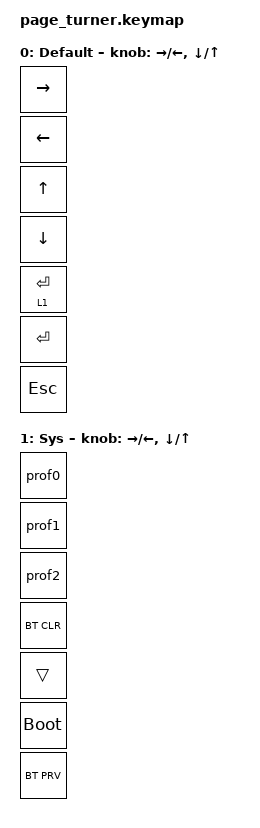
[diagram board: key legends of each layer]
/*
 * Page Turner — ZMK Keymap
 * Target: Kobo / x4 via Bluetooth (appears as BT keyboard)
 *
 * LAYERS
 *   0 — DEFAULT  : standard page turning + navigation
 *   1 — SYS      : BT pairing / clear (hold BTN5 to momentarily activate)
 *
 * KEY INDEX MAP (matches overlay kscan input-gpios order)
 *   0 = BTN1 (pin 008) — Next Page
 *   1 = BTN2 (pin 017) — Prev Page
 *   2 = BTN3 (pin 020) — Up
 *   3 = BTN4 (pin 022) — Down
 *   4 = BTN5 (pin 024) — Select / Layer-tap (hold = SYS layer)
 *   5 = ENC1 SW (pin 111) — Encoder 1 click
 *   6 = ENC2 SW (pin 104) — Encoder 2 click
 *
 * ENCODER MAP
 *   ENC1 CW / CCW → next / prev page  (same as buttons, feel comparison)
 *   ENC2 CW / CCW → scroll down / up  (for menus / long pages)
 *
 * SYS LAYER (hold BTN5)
 *   BTN1 → Profile 0  — LED blinks 1×
 *   BTN2 → Profile 1  — LED blinks 2×
 *   BTN3 → Profile 2  — LED blinks 3×
 *   BTN4 → Clear / unpair current profile
 *   BTN5 → (held, transparent)
 *   ENC1 SW → Bootloader (flash mode — or just double-press reset on board)
 *   ENC2 SW → BT previous profile
 *
 * KOBO KEY REFERENCE
 *   Next page : RIGHT arrow  (or Page Down on some firmware)
 *   Prev page : LEFT arrow   (or Page Up)
 *   Menu open : UP / tap top of screen
 *   Back      : ESC
 *   Select    : ENTER
 */

#include <behaviors.dtsi>
#include <dt-bindings/zmk/keys.h>
#include <dt-bindings/zmk/bt.h>
#include <dt-bindings/zmk/backlight.h>

/ {
    behaviors {
        /* Layer-tap: tap = ENTER, hold = SYS layer */
        lt_sys: layer_tap_sys {
            compatible = "zmk,behavior-hold-tap";
            label = "LT_SYS";
            #binding-cells = <2>;
            flavor = "tap-preferred";
            tapping-term-ms = <200>;
            bindings = <&mo>, <&kp>;
        };
    };

    /*
     * Profile-switch macros — each selects the BT profile then blinks the
     * onboard LED N times so you know which profile is now active.
     *
     * Timing: &macro_wait_time sets the delay applied BEFORE the next action.
     *   100 ms pause after BT_SEL (gives radio a moment to switch)
     *   250 ms on / 250 ms off per blink — visible but not slow
     */
    macros {
        /* Profile 0 — 1 blink */
        prof0: prof0 {
            compatible = "zmk,behavior-macro";
            label = "PROF_0";
            #binding-cells = <0>;
            wait-ms = <0>;
            tap-ms = <5>;
            bindings
                = <&bt BT_SEL 0>
                , <&macro_wait_time 100>
                , <&bl BL_ON>
                , <&macro_wait_time 250>
                , <&bl BL_OFF>
                ;
        };

        /* Profile 1 — 2 blinks */
        prof1: prof1 {
            compatible = "zmk,behavior-macro";
            label = "PROF_1";
            #binding-cells = <0>;
            wait-ms = <0>;
            tap-ms = <5>;
            bindings
                = <&bt BT_SEL 1>
                , <&macro_wait_time 100>
                , <&bl BL_ON>
                , <&macro_wait_time 250>
                , <&bl BL_OFF>
                , <&macro_wait_time 250>
                , <&bl BL_ON>
                , <&macro_wait_time 250>
                , <&bl BL_OFF>
                ;
        };

        /* Profile 2 — 3 blinks */
        prof2: prof2 {
            compatible = "zmk,behavior-macro";
            label = "PROF_2";
            #binding-cells = <0>;
            wait-ms = <0>;
            tap-ms = <5>;
            bindings
                = <&bt BT_SEL 2>
                , <&macro_wait_time 100>
                , <&bl BL_ON>
                , <&macro_wait_time 250>
                , <&bl BL_OFF>
                , <&macro_wait_time 250>
                , <&bl BL_ON>
                , <&macro_wait_time 250>
                , <&bl BL_OFF>
                , <&macro_wait_time 250>
                , <&bl BL_ON>
                , <&macro_wait_time 250>
                , <&bl BL_OFF>
                ;
        };
    };

    keymap {
        compatible = "zmk,keymap";

        /* ── Layer 0 — DEFAULT ─────────────────────────────────── */
        default_layer {
            label = "Default";
            bindings = <
                &kp RIGHT           /* BTN1 — Next page      */
                &kp LEFT            /* BTN2 — Prev page      */
                &kp UP              /* BTN3 — Up (menus)     */
                &kp DOWN            /* BTN4 — Down (menus)   */
                &lt_sys 1 ENTER     /* BTN5 — Select / SYS   */
                &kp ENTER           /* ENC1 SW — Enter       */
                &kp ESC             /* ENC2 SW — Back / Esc  */
            >;

            sensor-bindings = <
                &inc_dec_kp RIGHT LEFT   /* ENC1 CW=Next, CCW=Prev page */
                &inc_dec_kp DOWN UP      /* ENC2 CW=Down, CCW=Up scroll */
            >;
        };

        /* ── Layer 1 — SYS (BT management) ────────────────────── */
        sys_layer {
            label = "Sys";
            bindings = <
                &prof0              /* BTN1 — Profile 0 (1 blink)     */
                &prof1              /* BTN2 — Profile 1 (2 blinks)    */
                &prof2              /* BTN3 — Profile 2 (3 blinks)    */
                &bt BT_CLR          /* BTN4 — Clear/unpair            */
                &trans              /* BTN5 — (held, pass-thru)       */
                &bootloader         /* ENC1 SW — Flash mode           */
                &bt BT_PRV          /* ENC2 SW — Prev profile         */
            >;

            sensor-bindings = <
                &inc_dec_kp RIGHT LEFT
                &inc_dec_kp DOWN UP
            >;
        };
    };
};
